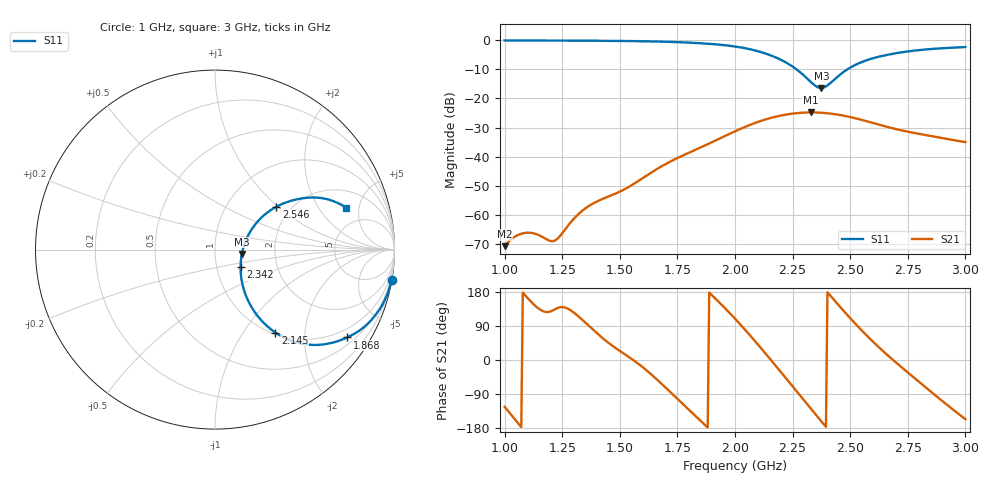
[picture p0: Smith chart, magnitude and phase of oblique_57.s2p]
! TOUCHSTONE file generated by CST MICROWAVE STUDIO
! Date and time: Tue Mar 18 00:01:23 2025
! Project name: oblique.cst
! Parameters = {Tilt=30; Fracture=1; B=12.5; D=160; F=5; Feed=2.85625; L=100; M=10; R=0.384908; S=1; Theta=270; length=57.125; wave=114.25}
! Header version: 2024
! Port assignment regex: !\s*Touchstone port\s*([0-9]+)\s*=\s*(CST MWS port|CST DES external port|CST DES block port)\s*(.+)\s* \(\"(.*)\"\)(\s*mode\s*([0-9]+))?.*
! Touchstone port assignment:
! Touchstone port 1 = CST MWS port 1 ("")
! Touchstone port 2 = CST MWS port 2 ("")
# GHz S DB R 50
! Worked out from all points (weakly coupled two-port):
!   305 points, 1 GHz to 3 GHz, reference 50 ohm
!   highest |S21| = -24.80 dB at 2.329 GHz (marker M1); lowest = -70.8 dB at 1 GHz (marker M2)
!   lowest |S11| = -16.4 dB at 2.375 GHz (marker M3), VSWR 1.36, Z = 67.5 - j3.37 ohm
!   |S11| at or under -10 dB: 2.267 GHz to 2.487 GHz (219.8 MHz wide, 9.25 % of centre)
!   S12 and S22 are empty: the file has one direction only
!   S11 on the Smith chart (normalised r, x): 1 GHz: 0, -12; 1.868 GHz: 0.71, -3.17; 2.145 GHz: 1.03, -1.41; 2.342 GHz: 1.30, -0.26; 2.546 GHz: 1.69, +0.98; 3 GHz: 3.23, +3.70
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1  -0.02 -9.8  -70.85 -123.5  -200.00 0.0  -200.00 0.0
1.04605  -0.02 -10.4  -67.50 -157.6  -200.00 0.0  -200.00 0.0
1.09211  -0.03 -11.0  -66.24 168.8  -200.00 0.0  -200.00 0.0
1.21711  -0.05 -13.0  -68.94 133.4  -200.00 0.0  -200.00 0.0
1.33553  -0.09 -15.2  -58.76 107.0  -200.00 0.0  -200.00 0.0
1.39474  -0.11 -16.5  -55.70 73.8  -200.00 0.0  -200.00 0.0
1.53289  -0.21 -20.0  -50.72 10.6  -200.00 0.0  -200.00 0.0
1.67105  -0.41 -24.4  -43.82 -57.0  -200.00 0.0  -200.00 0.0
1.86842  -1.07 -33.6  -36.22 -170.7  -200.00 0.0  -200.00 0.0
2  -2.10 -42.5  -31.30 109.1  -200.00 0.0  -200.00 0.0
2.14474  -4.86 -53.9  -26.93 8.3  -200.00 0.0  -200.00 0.0
2.24342  -8.66 -57.5  -25.28 -64.7  -200.00 0.0  -200.00 0.0
2.32895  -14.31 -41.9  -24.80 -128.3  -200.00 0.0  -200.00 0.0
2.33553  -14.79 -38.6  -24.80 -133.1  -200.00 0.0  -200.00 0.0
2.34211  -15.23 -34.8  -24.81 -138.0  -200.00 0.0  -200.00 0.0
2.375  -16.40 -9.3  -24.91 -162.1  -200.00 0.0  -200.00 0.0
2.40132  -15.50 11.1  -25.08 178.9  -200.00 0.0  -200.00 0.0
2.46053  -11.51 32.2  -25.75 137.2  -200.00 0.0  -200.00 0.0
2.54605  -7.58 34.9  -27.28 80.5  -200.00 0.0  -200.00 0.0
2.67105  -4.81 30.0  -30.00 8.0  -200.00 0.0  -200.00 0.0
2.82895  -3.12 23.3  -32.61 -72.9  -200.00 0.0  -200.00 0.0
3  -2.29 17.7  -35.02 -156.2  -200.00 0.0  -200.00 0.0
